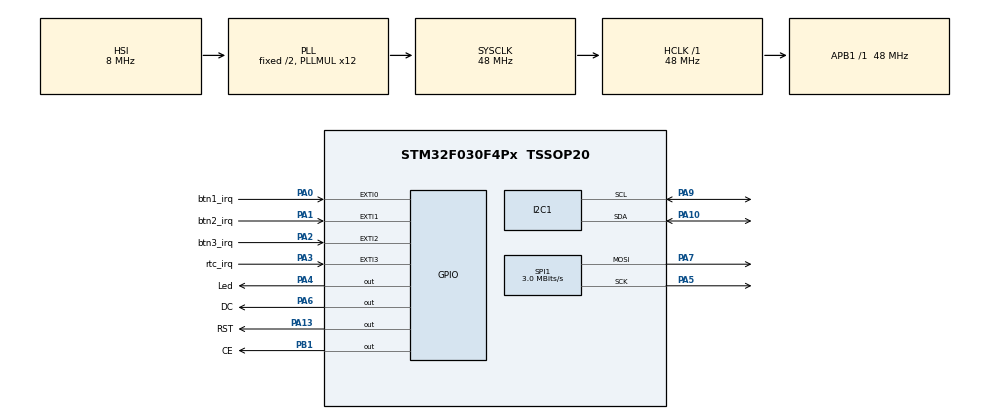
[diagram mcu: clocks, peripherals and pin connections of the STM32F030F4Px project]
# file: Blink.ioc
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Mcu.Family=STM32F0
Mcu.Name=STM32F030F4Px
Mcu.Package=TSSOP20
NVIC.EXTI0_1_IRQn=true\:0\:0\:false\:true\:true\:1\:true
NVIC.EXTI2_3_IRQn=true\:0\:0\:false\:true\:true\:2\:true
NVIC.TIM14_IRQn=true\:0\:0\:false\:true\:true\:3\:true
PA0.GPIO_Label=btn1_irq
PA0.GPIO_ModeDefaultEXTI=GPIO_MODE_IT_FALLING
PA0.GPIO_PuPd=GPIO_PULLUP
PA0.Signal=GPXTI0
PA1.GPIO_Label=btn2_irq
PA1.GPIO_ModeDefaultEXTI=GPIO_MODE_IT_FALLING
PA1.GPIO_PuPd=GPIO_PULLUP
PA1.Signal=GPXTI1
PA10.Mode=I2C
PA10.Signal=I2C1_SDA
PA13.GPIO_Label=RST
PA13.Signal=GPIO_Output
PA2.GPIO_Label=btn3_irq
PA2.GPIO_ModeDefaultEXTI=GPIO_MODE_IT_FALLING
PA2.GPIO_PuPd=GPIO_PULLUP
PA2.Signal=GPXTI2
PA3.GPIO_Label=rtc_irq
PA3.GPIO_ModeDefaultEXTI=GPIO_MODE_IT_FALLING
PA3.GPIO_PuPd=GPIO_PULLUP
PA3.Signal=GPXTI3
PA4.GPIO_Label=Led
PA4.Signal=GPIO_Output
PA5.Mode=TX_Only_Simplex_Unidirect_Master
PA5.Signal=SPI1_SCK
PA6.GPIO_Label=DC
PA6.Signal=GPIO_Output
PA7.Mode=TX_Only_Simplex_Unidirect_Master
PA7.Signal=SPI1_MOSI
PA9.Mode=I2C
PA9.Signal=I2C1_SCL
PB1.GPIO_Label=CE
PB1.Signal=GPIO_Output
ProjectManager.HeapSize=0x200
ProjectManager.StackSize=0x400
ProjectManager.TargetToolchain=SW4STM32
RCC.AHBFreq_Value=48000000
RCC.APB1Freq_Value=48000000
RCC.APB1TimFreq_Value=48000000
RCC.HCLKFreq_Value=48000000
RCC.PLLMUL=RCC_PLL_MUL12
RCC.SYSCLKFreq_VALUE=48000000
RCC.SYSCLKSource=RCC_SYSCLKSOURCE_PLLCLK
SPI1.BaudRatePrescaler=SPI_BAUDRATEPRESCALER_16
SPI1.CalculateBaudRate=3.0 MBits/s
SPI1.DataSize=SPI_DATASIZE_8BIT
SPI1.Direction=SPI_DIRECTION_2LINES
SPI1.Mode=SPI_MODE_MASTER
SPI1.VirtualType=VM_MASTER
TIM14.Period=5000
TIM14.Prescaler=4800
VP_TIM14_VS_ClockSourceINT.Mode=Enable_Timer
board=Blink

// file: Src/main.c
/**
  ******************************************************************************
  * File Name          : main.c
  * Description        : Main program body
  ******************************************************************************
  ** This notice applies to any and all portions of this file
  * that are not between comment pairs USER CODE BEGIN and
  * USER CODE END. Other portions of this file, whether
  * inserted by the user or by software development tools
  * are owned by their respective copyright owners.
  *
  * COPYRIGHT(c) 2017 STMicroelectronics
  *
  * Redistribution and use in source and binary forms, with or without modification,
  * are permitted provided that the following conditions are met:
  *   1. Redistributions of source code must retain the above copyright notice,
  *      this list of conditions and the following disclaimer.
  *   2. Redistributions in binary form must reproduce the above copyright notice,
  *      this list of conditions and the following disclaimer in the documentation
  *      and/or other materials provided with the distribution.
  *   3. Neither the name of STMicroelectronics nor the names of its contributors
  *      may be used to endorse or promote products derived from this software
  *      without specific prior written permission.
  *
  * THIS SOFTWARE IS PROVIDED BY THE COPYRIGHT HOLDERS AND CONTRIBUTORS "AS IS"
  * AND ANY EXPRESS OR IMPLIED WARRANTIES, INCLUDING, BUT NOT LIMITED TO, THE
  * IMPLIED WARRANTIES OF MERCHANTABILITY AND FITNESS FOR A PARTICULAR PURPOSE ARE
  * DISCLAIMED. IN NO EVENT SHALL THE COPYRIGHT HOLDER OR CONTRIBUTORS BE LIABLE
  * FOR ANY DIRECT, INDIRECT, INCIDENTAL, SPECIAL, EXEMPLARY, OR CONSEQUENTIAL
  * DAMAGES (INCLUDING, BUT NOT LIMITED TO, PROCUREMENT OF SUBSTITUTE GOODS OR
  * SERVICES; LOSS OF USE, DATA, OR PROFITS; OR BUSINESS INTERRUPTION) HOWEVER
  * CAUSED AND ON ANY THEORY OF LIABILITY, WHETHER IN CONTRACT, STRICT LIABILITY,
  * OR TORT (INCLUDING NEGLIGENCE OR OTHERWISE) ARISING IN ANY WAY OUT OF THE USE
  * OF THIS SOFTWARE, EVEN IF ADVISED OF THE POSSIBILITY OF SUCH DAMAGE.
  *
  ******************************************************************************
  */

#include "main.h"
#include "stm32f0xx_hal.h"
#include "i2c.h"
#include "spi.h"
#include "tim.h"
#include "gpio.h"
#include "io_routines.h"

/* USER CODE BEGIN PV */
/* Private variables ---------------------------------------------------------*/

uint8_t pointer_pos = OFF_POS;
uint8_t mode;
uint8_t year;
/* USER CODE END PV */

void SystemClock_Config(void);
static void MX_NVIC_Init(void);

/* USER CODE BEGIN PFP */
/* Private function prototypes -----------------------------------------------*/
/* USER CODE END PFP */

int main(void)
{

  /* MCU Configuration----------------------------------------------------------*/

  /* Reset of all peripherals, Initializes the Flash interface and the Systick. */
  HAL_Init();

  /* Configure the system clock */
  SystemClock_Config();

  /* Initialize all configured peripherals */
  MX_GPIO_Init();
  MX_SPI1_Init();
  MX_I2C1_Init();
  MX_TIM14_Init();

  /* Initialize interrupts */
  MX_NVIC_Init();

  /* USER CODE BEGIN 2 */
  lcd_init();
  rtc_get_all_time_registers();
  lcd_send_data(image, sizeof(image));
  HAL_Delay(200);
  update_screen();

  HAL_TIM_Base_Start_IT(&htim14);

  mode = 0;
  /* USER CODE END 2 */

  /* Infinite loop */
  while (1)
  {

  /* USER CODE BEGIN 3 */

	  HAL_Delay(300);

	  if(btn_3){
		  if(++mode > 5){
			  mode = 0;
		  }
		  pointer_pos = callback_mode[mode].pointer_position;

		  btn_3 = 0;
	  }

	  if(btn_2){
		  callback_mode[mode].inc_value();
		  btn_2 = 0;
	  }

	  if(btn_1){
		 callback_mode[mode].dec_value();
		 btn_1 = 0;
	  }

  }
  /* USER CODE END 3 */

}

/** System Clock Configuration
*/
void SystemClock_Config(void)
{

  RCC_OscInitTypeDef RCC_OscInitStruct;
  RCC_ClkInitTypeDef RCC_ClkInitStruct;
  RCC_PeriphCLKInitTypeDef PeriphClkInit;

    /**Initializes the CPU, AHB and APB busses clocks
    */
  RCC_OscInitStruct.OscillatorType = RCC_OSCILLATORTYPE_HSI;
  RCC_OscInitStruct.HSIState = RCC_HSI_ON;
  RCC_OscInitStruct.HSICalibrationValue = 16;
  RCC_OscInitStruct.PLL.PLLState = RCC_PLL_ON;
  RCC_OscInitStruct.PLL.PLLSource = RCC_PLLSOURCE_HSI;
  RCC_OscInitStruct.PLL.PLLMUL = RCC_PLL_MUL12;
  RCC_OscInitStruct.PLL.PREDIV = RCC_PREDIV_DIV1;
  if (HAL_RCC_OscConfig(&RCC_OscInitStruct) != HAL_OK)
  {
    _Error_Handler(__FILE__, __LINE__);
  }

    /**Initializes the CPU, AHB and APB busses clocks
    */
  RCC_ClkInitStruct.ClockType = RCC_CLOCKTYPE_HCLK|RCC_CLOCKTYPE_SYSCLK
                              |RCC_CLOCKTYPE_PCLK1;
  RCC_ClkInitStruct.SYSCLKSource = RCC_SYSCLKSOURCE_PLLCLK;
  RCC_ClkInitStruct.AHBCLKDivider = RCC_SYSCLK_DIV1;
  RCC_ClkInitStruct.APB1CLKDivider = RCC_HCLK_DIV1;

  if (HAL_RCC_ClockConfig(&RCC_ClkInitStruct, FLASH_LATENCY_1) != HAL_OK)
  {
    _Error_Handler(__FILE__, __LINE__);
  }

  PeriphClkInit.PeriphClockSelection = RCC_PERIPHCLK_I2C1;
  PeriphClkInit.I2c1ClockSelection = RCC_I2C1CLKSOURCE_HSI;
  if (HAL_RCCEx_PeriphCLKConfig(&PeriphClkInit) != HAL_OK)
  {
    _Error_Handler(__FILE__, __LINE__);
  }

    /**Configure the Systick interrupt time
    */
  HAL_SYSTICK_Config(HAL_RCC_GetHCLKFreq()/1000);

    /**Configure the Systick
    */
  HAL_SYSTICK_CLKSourceConfig(SYSTICK_CLKSOURCE_HCLK);

  /* SysTick_IRQn interrupt configuration */
  HAL_NVIC_SetPriority(SysTick_IRQn, 0, 0);
}

/** NVIC Configuration
*/
static void MX_NVIC_Init(void)
{
  /* EXTI0_1_IRQn interrupt configuration */
  HAL_NVIC_SetPriority(EXTI0_1_IRQn, 0, 0);
  HAL_NVIC_EnableIRQ(EXTI0_1_IRQn);
  /* EXTI2_3_IRQn interrupt configuration */
  HAL_NVIC_SetPriority(EXTI2_3_IRQn, 0, 0);
  HAL_NVIC_EnableIRQ(EXTI2_3_IRQn);
  /* TIM14_IRQn interrupt configuration */
  HAL_NVIC_SetPriority(TIM14_IRQn, 0, 0);
  HAL_NVIC_EnableIRQ(TIM14_IRQn);
}

void _Error_Handler(char * file, int line)
{
  while(1)
  {
  }
}

/************************ (C) COPYRIGHT STMicroelectronics *****END OF FILE****/
